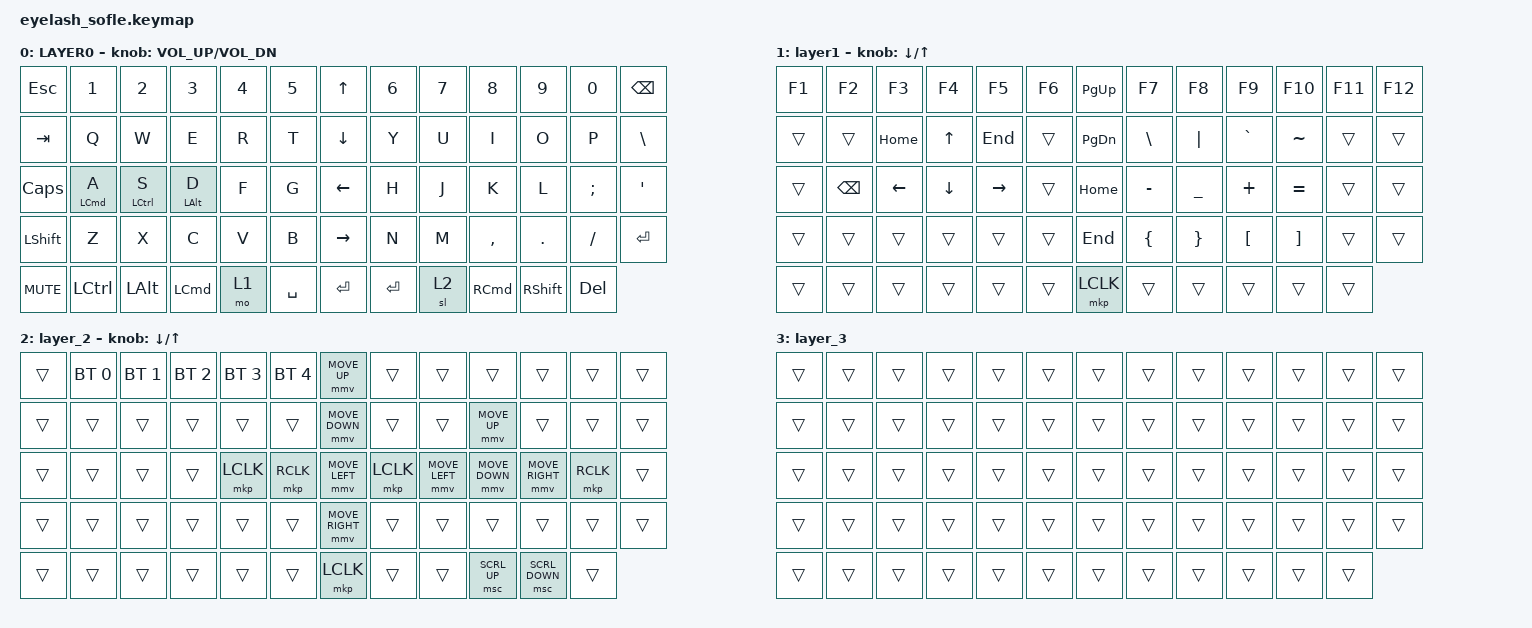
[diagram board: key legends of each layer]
#define ZMK_POINTING_DEFAULT_MOVE_VAL 1200  // 600
#define ZMK_POINTING_DEFAULT_SCRL_VAL 35    // 10

#include <input/processors.dtsi>
#include <zephyr/dt-bindings/input/input-event-codes.h>
#include <behaviors.dtsi>
#include <dt-bindings/zmk/bt.h>
#include <dt-bindings/zmk/keys.h>
#include <dt-bindings/zmk/pointing.h>

/ {
    zip_scroll_scaler: zip_scroll_scaler {
        compatible = "zmk,input-processor-scaler";
        #input-processor-cells = <2>;
        type = <INPUT_EV_REL>;
        codes = <INPUT_REL_WHEEL INPUT_REL_HWHEEL>;
        track-remainders;
    };
};

&mmv_input_listener { input-processors = <&zip_xy_scaler 2 1>; };

&msc_input_listener { input-processors = <&zip_scroll_scaler 2 1>; };

&msc {
    acceleration-exponent = <0>;      // 0
    time-to-max-speed-ms = <0>;       // 300
    delay-ms = <0>;                   // 0
};

&mmv {
    time-to-max-speed-ms = <400>;
    acceleration-exponent = <1>;
};

/ {
    scroll_encoder: scroll_encoder {
        compatible = "zmk,behavior-sensor-rotate";
        #sensor-binding-cells = <0>;
        bindings = <&msc SCRL_DOWN>, <&msc SCRL_UP>;

        tap-ms = <30>;
    };

    behaviors {
    };

    keymap {
        compatible = "zmk,keymap";

        layer0 {
            bindings = <
&kp ESC     &kp N1              &kp N2              &kp N3            &kp N4  &kp N5       &kp UP_ARROW     &kp N6     &kp N7  &kp N8             &kp N9           &kp N0      &kp BACKSPACE
&kp TAB     &kp Q               &kp W               &kp E             &kp R   &kp T        &kp DOWN_ARROW   &kp Y      &kp U   &kp I              &kp O            &kp P       &kp BSLH
&kp CAPS    &mt LEFT_COMMAND A  &mt LEFT_CONTROL S  &mt LEFT_ALT D    &kp F   &kp G        &kp LEFT_ARROW   &kp H      &kp J   &kp K              &kp L            &kp SEMI    &kp APOS
&kp LSHFT   &kp Z               &kp X               &kp C             &kp V   &kp B        &kp RIGHT_ARROW  &kp N      &kp M   &kp COMMA          &kp DOT          &kp FSLH    &kp ENTER
&kp C_MUTE  &kp LCTRL           &kp LEFT_ALT        &kp LEFT_COMMAND  &mo 1   &kp SPACE    &kp ENTER        &kp ENTER  &sl 2   &kp RIGHT_COMMAND  &kp RIGHT_SHIFT  &kp DELETE
            >;

            sensor-bindings = <&inc_dec_kp C_VOLUME_UP C_VOL_DN>;
            display-name = "LAYER0";
        };

        layer_1 {
            bindings = <
&kp F1  &kp F2         &kp F3          &kp F4          &kp F5           &kp F6    &kp PAGE_UP    &kp F7          &kp F8           &kp F9            &kp F10            &kp F11  &kp F12
&trans  &trans         &kp HOME        &kp UP_ARROW    &kp END          &trans    &kp PAGE_DOWN  &kp BACKSLASH   &kp PIPE         &kp GRAVE         &kp TILDE          &trans   &trans
&trans  &kp BACKSPACE  &kp LEFT_ARROW  &kp DOWN_ARROW  &kp RIGHT_ARROW  &trans    &kp HOME       &kp MINUS       &kp UNDER        &kp PLUS          &kp EQUAL          &trans   &trans
&trans  &trans         &trans          &trans          &trans           &trans    &kp END        &kp LEFT_BRACE  &kp RIGHT_BRACE  &kp LEFT_BRACKET  &kp RIGHT_BRACKET  &trans   &trans
&trans  &trans         &trans          &trans          &trans           &trans    &mkp LCLK      &trans          &trans           &trans            &trans             &trans
            >;

            display-name = "layer1";
            sensor-bindings = <&inc_dec_kp DOWN UP>;
        };

        layer_2 {
            bindings = <
&trans  &bt BT_SEL 0  &bt BT_SEL 1  &bt BT_SEL 2  &bt BT_SEL 3  &bt BT_SEL 4    &mmv MOVE_UP     &trans     &trans          &trans          &trans           &trans     &trans
&trans  &trans        &trans        &trans        &trans        &trans          &mmv MOVE_DOWN   &trans     &trans          &mmv MOVE_UP    &trans           &trans     &trans
&trans  &trans        &trans        &trans        &mkp LCLK     &mkp RCLK       &mmv MOVE_LEFT   &mkp LCLK  &mmv MOVE_LEFT  &mmv MOVE_DOWN  &mmv MOVE_RIGHT  &mkp RCLK  &trans
&trans  &trans        &trans        &trans        &trans        &trans          &mmv MOVE_RIGHT  &trans     &trans          &trans          &trans           &trans     &trans
&trans  &trans        &trans        &trans        &trans        &trans          &mkp LCLK        &trans     &trans          &msc SCRL_UP    &msc SCRL_DOWN   &trans
            >;

            sensor-bindings = <&inc_dec_kp DOWN UP>;
        };

        layer_3 {
            bindings = <
&trans  &trans  &trans  &trans  &trans  &trans    &trans  &trans  &trans  &trans  &trans  &trans  &trans
&trans  &trans  &trans  &trans  &trans  &trans    &trans  &trans  &trans  &trans  &trans  &trans  &trans
&trans  &trans  &trans  &trans  &trans  &trans    &trans  &trans  &trans  &trans  &trans  &trans  &trans
&trans  &trans  &trans  &trans  &trans  &trans    &trans  &trans  &trans  &trans  &trans  &trans  &trans
&trans  &trans  &trans  &trans  &trans  &trans    &trans  &trans  &trans  &trans  &trans  &trans
            >;
        };
    };
};
